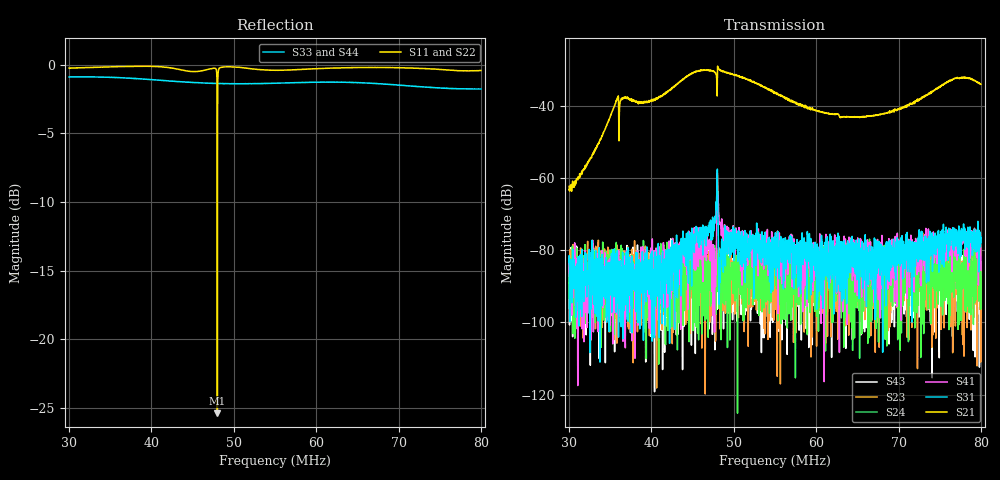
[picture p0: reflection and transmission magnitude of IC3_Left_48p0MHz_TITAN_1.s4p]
#  HZ  S  DB  R  50.00
! Rohde & Schwarz Vector Network Analyzer
! Rohde-Schwarz,ZNB8-4Port,1311601044102961,2.82
! Created: UTC 2/8/2019, 3:30:56 PM
! freq[Hz]  db:S11  ang:S11  db:S12  ang:S12  db:S13  ang:S13  db:S14  ang:S14
!  db:S21  ang:S21  db:S22  ang:S22  db:S23  ang:S23  db:S24  ang:S24
!  db:S31  ang:S31  db:S32  ang:S32  db:S33  ang:S33  db:S34  ang:S34
!  db:S41  ang:S41  db:S42  ang:S42  db:S43  ang:S43  db:S44  ang:S44
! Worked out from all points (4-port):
!   2001 points, 30 MHz to 80 MHz, reference 50 ohm
!   strongest paths, dB at 30 MHz, 42.5 MHz, 55 MHz, 67.5 MHz, 80 MHz:
!     S21: -62.4, -35.0, -36.3, -42.6, -34.1
!     S31: -83.4, -91.2, -82.2, -78.5, -76.5
!     S41: -83.1, -91.4, -78.0, -85.6, -85.6
!     S24: -87.8, -95.2, -84.2, -86.7, -86.1
!     S23: -89.0, -92.9, -82.8, -83.5, -95.2
!     S43: -84.1, -90.9, -88.6, -87.9, -83.3
!   lowest |S11| = -25.4 dB at 48 MHz (marker M1), VSWR 1.11, Z = 49.5 - j5.34 ohm
!   |S11| at or under -10 dB: 47.98276 MHz to 48.01777 MHz (35.01 kHz wide, 0.0729 % of centre)
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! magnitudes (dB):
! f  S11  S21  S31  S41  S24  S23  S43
! 30 MHz  -0.3  -62.4  -83.4  -83.1  -87.8  -89.0  -84.1
! 35.75 MHz  -0.2  -38.5  -80.9  -82.9  -86.3  -95.4  -91.0
! 47.6 MHz  -0.3  -30.5  -74.0  -84.5  -82.6  -90.2  -85.9
! 48 MHz  -25.4  -33.5  -57.6  -58.6  -86.8  -90.3  -96.4
! 48.4 MHz  -0.2  -30.2  -84.8  -72.9  -90.3  -88.3  -89.3
! 63.1 MHz  -0.2  -43.2  -85.1  -87.5  -93.9  -81.0  -93.1
! 80 MHz  -0.4  -34.1  -76.5  -85.6  -86.1  -95.2  -83.3
